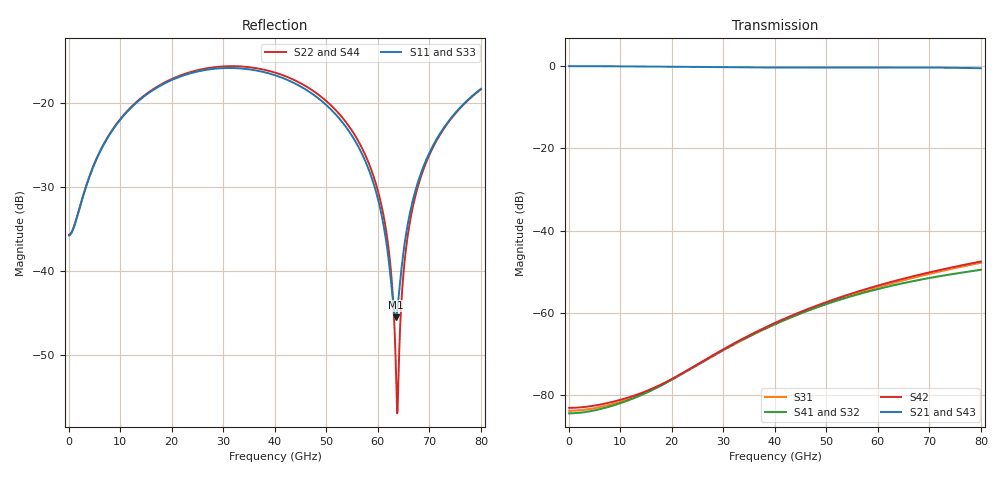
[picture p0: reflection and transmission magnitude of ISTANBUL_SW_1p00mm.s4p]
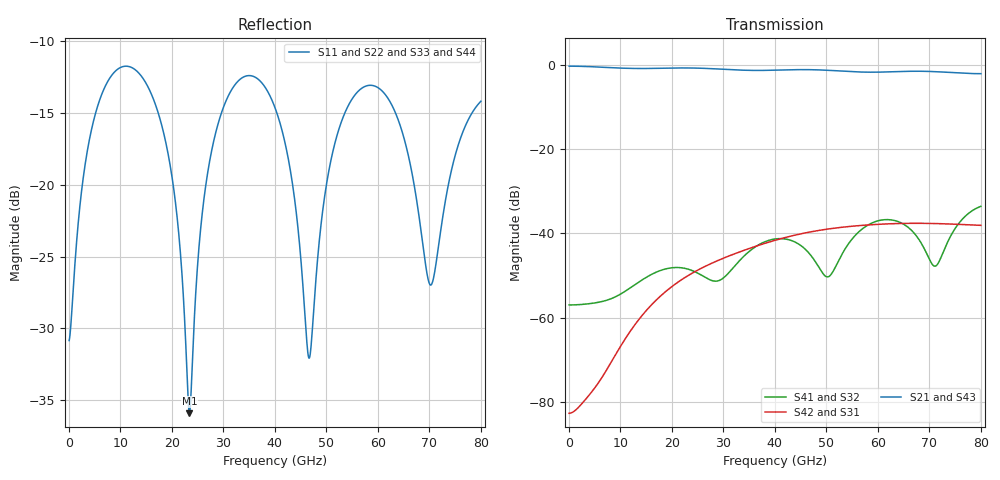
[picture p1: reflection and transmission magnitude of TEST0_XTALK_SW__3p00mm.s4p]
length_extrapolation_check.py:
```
"""How good is the GUI's length extrapolation? Istanbul line A (ports 1 near, 2 far of the 4-port; line B ports in 50 ohm).
Extract alpha, n_m, Zc (extract_line_fit, the GUI's extraction) from each simulated length (1, 3, 5, 8.75 mm) and
extrapolate to 8.75 mm with the uniform-line formula. Compare with:
  - the simulated 8.75 mm S21, S11 (ISTANBUL_SW_8p75mm.s4p, fine mesh family as the 1 mm run);
  - the EO response (50/50 ohm, n_g 2.27, normalised to 3-10.7 GHz) of the line model extracted from the 8.75 mm run
    itself (no length extrapolation). The run (a) gap fields are NOT usable as reference: run (a) is a different structure
    (n_m 2.23 at 30 GHz against 2.11 for these SW files).
Note: 3 and 5 mm are the coarse mesh/port family (four_lengths_results.md), 1 and 8.75 mm the fine one."""
import os, sys, tempfile
HERE = os.path.dirname(os.path.abspath(__file__)); sys.path.insert(0, os.path.abspath(os.path.join(HERE, "../../../..")))
import numpy as np, skrf as rf, matplotlib
matplotlib.use("Agg"); import matplotlib.pyplot as plt
from mzm_interconnect.extractor import extract_line_fit
from mzm_interconnect.physics import eo_transfer, C0
FILES = {1.0: "ISTANBUL_SW_1p00mm.s4p", 3.0: "TEST0_XTALK_SW__3p00mm.s4p", 5.0: "TEST0_XTALK_SW_5mm.s4p", 8.75: "ISTANBUL_SW_8p75mm.s4p"}
LT, ZR = 8.75, 50.0
tmp = tempfile.mkdtemp()
def two_port(L):
    n = rf.Network(os.path.join(HERE, FILES[L])).subnetwork([0, 1]); p = os.path.join(tmp, f"A_{int(L*100)}"); n.write_touchstone(p); return n, p + ".s2p"
def line_s(fit, f, L):
    g = fit.alpha_dB_cm(f) * 100 / 8.686 + 1j * 2 * np.pi * f * 1e9 * fit.nm(f) / C0; zc = fit.Zc(f); gl = g * L * 1e-3
    den = 2 * zc * ZR * np.cosh(gl) + (zc ** 2 + ZR ** 2) * np.sinh(gl)
    return (zc ** 2 - ZR ** 2) * np.sinh(gl) / den, 2 * zc * ZR / den
dB = lambda x: 20 * np.log10(abs(x))
ref_net, _ = two_port(LT); fs = ref_net.f / 1e9; k = (fs >= 1) & (fs <= 60); fs = fs[k]
S21_true, S11_true = dB(ref_net.s[k, 1, 0]), dB(ref_net.s[k, 0, 0])
fe = np.arange(1.0, 60.01, 0.25); REF = (fe >= 3) & (fe <= 10.7)
ph_true = np.unwrap(np.angle(ref_net.s[k, 1, 0]))
_, p_ = two_port(LT); f_ = extract_line_fit(p_, LT)
H_, _ = eo_transfer(fe, f_.alpha_dB_cm(fe), f_.nm(fe), f_.Zc(fe), LT * 1e-3, 2.27, 50.0, 50.0); eo_true = 20 * np.log10(abs(H_) / np.mean(abs(H_[REF])))
res = {}
print("from L | |S21| err 30/60 GHz (dB) | |S21| rms | S21 phase err 30/60 (deg) | |S11| rms (dB) | EO err 30/60 vs 8.75 own model | -3 dB bw | alpha@30 dB/cm n_m@30 ReZc@30")
for L in FILES:
    _, path = two_port(L); fit = extract_line_fit(path, L)
    s11, s21 = line_s(fit, fs, LT)
    H, _ = eo_transfer(fe, fit.alpha_dB_cm(fe), fit.nm(fe), fit.Zc(fe), LT * 1e-3, 2.27, 50.0, 50.0)
    eo = 20 * np.log10(abs(H) / np.mean(abs(H[REF])))
    d21, d11, de = dB(s21) - S21_true, dB(s11) - S11_true, eo - eo_true
    dph = np.degrees(np.unwrap(np.angle(s21)) - ph_true); dph -= 360 * np.round(dph[0] / 360)
    c3 = np.where(eo < -3)[0]; bw = f"{fe[c3[0]]:.1f}" if len(c3) else "> 60"
    res[L] = (dB(s21), dB(s11), eo)
    i30, i60 = np.argmin(abs(fs - 30)), np.argmin(abs(fs - 60)); j30, j60 = np.argmin(abs(fe - 30)), np.argmin(abs(fe - 60))
    a30 = fit.alpha_dB_cm(np.array([30.0]))[0]; n30 = fit.nm(np.array([30.0]))[0]; z30 = fit.Zc(np.array([30.0]))[0].real
    print(f"{L:5.2f}  | {d21[i30]:+.2f} {d21[i60]:+.2f} | {np.sqrt(np.mean(d21**2)):.2f} | {dph[i30]:+.0f} {dph[i60]:+.0f} | {np.sqrt(np.mean(d11**2)):.1f} | "
          f"{de[j30]:+.2f} {de[j60]:+.2f} | {bw} | {a30:.3f} {n30:.4f} {z30:.1f}")
C = {1.0: "#eb6834", 3.0: "#1baa7d", 5.0: "#7a4bd1", 8.75: "#2a78d6"}
fig, ax = plt.subplots(1, 3, figsize=(15, 4.4))
ax[0].plot(fs, S21_true, "k", lw=2.2, label="simulated 8.75 mm"); ax[1].plot(fs, S11_true, "k", lw=1.2, label="simulated 8.75 mm")

for L, (a, b, c) in res.items():
    lab = f"extrapolated from {L:g} mm" if L != LT else "line model of 8.75 mm itself"
    ax[0].plot(fs, a, color=C[L], lw=1.2, label=lab); ax[1].plot(fs, b, color=C[L], lw=1.0, label=lab); ax[2].plot(fe, c, color=C[L], lw=1.3, label=lab)
ax[0].set_ylim(-6, 0); ax[1].set_ylim(-50, 0); ax[2].set_ylim(-6, 1)
for a_, t in zip(ax, ("|S21| (dB)", "|S11| (dB)", "EO response (dB, ref 3-10.7 GHz)")):
    a_.set_xlim(0, 60); a_.set_xlabel("frequency (GHz)"); a_.set_ylabel(t); a_.grid(alpha=0.3)
ax[0].legend(frameon=False, fontsize=8); fig.suptitle("Istanbul line A: length extrapolation to 8.75 mm from each simulated length", fontsize=11)
fig.tight_layout(); fig.savefig(os.path.join(HERE, "length_extrapolation_check.png"), dpi=170)
```
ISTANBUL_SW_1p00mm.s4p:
! TOUCHSTONE file generated by CST MICROWAVE STUDIO
! Date and time: Wed Oct 21 13:39:17 2026
! Project name: TEST0_XTALK_SW_1mm.cst
! Parameters = {L=1; L1=0.01; L2=0.076; PITCH=0.2; START_POSITION=0.075; W1=0.002; W2=0.022; gap=0.00415; interaxis=0.625; ln_thickness=0.000275; mtx=0.002; si_thickness=0.3; sio2_thickness=0.0047; w=1; wg=0.03; ws=0.01}
! Header version: 2024
! Port assignment regex: !\s*Touchstone port\s*([0-9]+)\s*=\s*(CST MWS port|CST DES external port|CST DES block port)\s*(.+)\s* \(\"(.*)\"\)(\s*mode\s*([0-9]+))?.*
! Touchstone port assignment:
! Touchstone port 1 = CST MWS port 1 ("")
! Touchstone port 2 = CST MWS port 2 ("")
! Touchstone port 3 = CST MWS port 3 ("")
! Touchstone port 4 = CST MWS port 4 ("")
# GHz S MA R 50
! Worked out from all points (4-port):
!   1000 points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, 80 MHz to 80 GHz, reference 50 ohm
!   strongest paths, dB at 80 MHz, 20.08 GHz, 40.08 GHz, 60.08 GHz, 80 GHz:
!     S21: -0.1, -0.3, -0.5, -0.4, -0.6
!     S43: -0.1, -0.3, -0.5, -0.4, -0.6
!     S42: -83.0, -75.9, -62.4, -53.3, -47.5
!     S41: -84.3, -76.1, -62.6, -54.2, -49.5
!     S32: -84.3, -76.1, -62.6, -54.2, -49.5
!     S31: -83.7, -76.1, -62.7, -53.7, -47.8
!   lowest |S11| = -45.5 dB at 63.44 GHz (marker M1), VSWR 1.01, Z = 50.5 + j0.0504 ohm
!   |S11| at or under -10 dB: start of sweep to end of sweep
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0.08  0.01632 2.1  0.9835 -0.2  6.532e-05 178.9  6.08e-05 -1.1
      0.9835 -0.2  0.01648 2.0  6.083e-05 -1.1  7.081e-05 178.9
      6.532e-05 178.9  6.083e-05 -1.1  0.01632 2.1  0.9835 -0.2
      6.08e-05 -1.1  7.081e-05 178.9  0.9835 -0.2  0.01648 2.0
63.44  0.005305 5.4  0.9501 -175.9  0.002356 -51.4  0.002196 127.5
       0.9501 -175.9  0.003063 -76.1  0.002196 127.5  0.002464 -50.1
       0.002356 -51.4  0.002196 127.5  0.005304 5.4  0.9501 -175.9
       0.002196 127.5  0.002464 -50.1  0.9501 -175.9  0.003063 -76.1
80  0.1222 54.5  0.9283 136.9  0.004067 -173.7  0.003344 -1.2
    0.9283 136.9  0.1214 31.7  0.003344 -1.1  0.004218 -171.9
    0.004067 -173.7  0.003344 -1.1  0.1222 54.5  0.9283 136.9
    0.003344 -1.2  0.004218 -171.9  0.9283 136.9  0.1214 31.7
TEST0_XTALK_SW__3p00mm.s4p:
! TOUCHSTONE file generated by CST MICROWAVE STUDIO
! Date and time: Thu Oct 22 15:25:15 2026
! Project name: TEST0_XTALK_SW_3mm.cst
! Parameters = {L=3; L1=0.01; L2=0.076; PITCH=0.2; START_POSITION=0.1; W1=0.002; W2=0.022; gap=0.00415; interaxis=0.625; ln_thickness=0.000275; mtx=0.002; si_thickness=0.3; sio2_thickness=0.0047; w=1; wg=0.03; ws=0.01}
! Header version: 2024
! Port assignment regex: !\s*Touchstone port\s*([0-9]+)\s*=\s*(CST MWS port|CST DES external port|CST DES block port)\s*(.+)\s* \(\"(.*)\"\)(\s*mode\s*([0-9]+))?.*
! Touchstone port assignment:
! Touchstone port 1 = CST MWS port 1 ("")
! Touchstone port 2 = CST MWS port 2 ("")
! Touchstone port 3 = CST MWS port 3 ("")
! Touchstone port 4 = CST MWS port 4 ("")
# GHz S MA R 50
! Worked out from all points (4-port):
!   1000 points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, 80 MHz to 80 GHz, reference 50 ohm
!   strongest paths, dB at 80 MHz, 20.08 GHz, 40.08 GHz, 60.08 GHz, 80 GHz:
!     S21: -0.3, -0.7, -1.2, -1.7, -2.0
!     S43: -0.3, -0.7, -1.2, -1.7, -2.0
!     S42: -82.7, -52.6, -41.6, -37.8, -38.1
!     S31: -82.7, -52.6, -41.6, -37.8, -38.1
!     S41: -57.0, -48.1, -41.3, -37.0, -33.6
!     S32: -57.0, -48.1, -41.3, -37.0, -33.6
!   lowest |S11| = -35.9 dB at 23.44 GHz (marker M1), VSWR 1.03, Z = 51.6 - j0.13 ohm
!   |S11| at or under -10 dB: start of sweep to end of sweep
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0.08  0.02868 5.3  0.9713 -0.6  7.33e-05 176.5  0.001416 -2.4
      0.9713 -0.6  0.02867 5.3  0.001416 -2.4  7.315e-05 176.5
      7.328e-05 176.5  0.001416 -2.4  0.02868 5.3  0.9713 -0.6
      0.001416 -2.4  7.314e-05 176.5  0.9713 -0.6  0.02868 5.3
23.44  0.01599 -4.5  0.9245 -178.5  0.003234 -38.0  0.003727 91.2
       0.9245 -178.5  0.01603 -4.6  0.003727 91.2  0.003234 -38.0
       0.003234 -38.0  0.003727 91.2  0.01599 -4.5  0.9245 -178.5
       0.003727 91.2  0.003234 -38.0  0.9245 -178.5  0.01603 -4.6
80  0.1957 11.8  0.791 116.2  0.0125 50.0  0.02101 36.5
    0.791 116.2  0.1956 11.8  0.02101 36.5  0.0125 50.0
    0.0125 50.0  0.02101 36.5  0.1957 11.8  0.7909 116.2
    0.02101 36.5  0.0125 50.0  0.7909 116.2  0.1956 11.8
